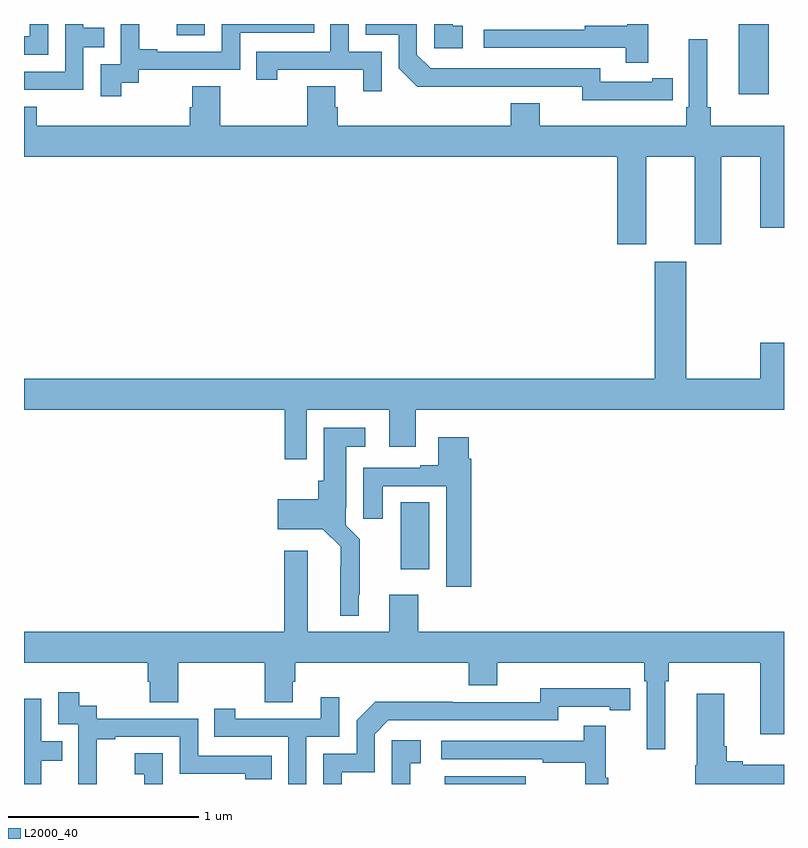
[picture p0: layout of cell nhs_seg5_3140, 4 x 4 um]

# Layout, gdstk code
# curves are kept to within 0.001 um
import gdstk
lib = gdstk.Library(unit=1e-6, precision=1e-09)
def R(c, l, rs):  # rectangles x0, y0, x1, y1
    for r in rs: c.add(gdstk.rectangle(r[:2], r[2:], *l))
def P(c, l, *ps):  # polygons
    for p in ps: c.add(gdstk.Polygon(p, *l))
L2000_40 = (2000, 40)

nhs_seg5_3140 = lib.new_cell('nhs_seg5_3140')
R(nhs_seg5_3140, L2000_40, [(295.214,846.799,295.642,846.841), (294.983,847.929,295.132,848.282), (296.762,850.428,296.921,850.799), (293.805,850.74,293.952,850.799)])
P(nhs_seg5_3140, L2000_40, [(293.127,850.799),(293.031,850.799),(293.031,850.734),(293,850.734),(293,850.638),(293.127,850.638)],
  [(296.306,850.398),(296.414,850.398),(296.414,850.514),(296.306,850.514),(296.306,850.494),(296.034,850.494),(296.034,850.566),(295.14,850.566),(295.068,850.638),(295.068,850.799),(294.798,850.799),(294.798,850.743),(294.972,850.743),(294.972,850.566),(295.07,850.469),(295.938,850.47),(295.938,850.397)],
  [(295.309,850.791),(295.256,850.791),(295.256,850.799),(295.158,850.799),(295.158,850.671),(295.309,850.671)],
  [(293.313,850.677),(293.423,850.677),(293.423,850.778),(293.313,850.778),(293.313,850.799),(293.217,850.799),(293.217,850.548),(293,850.548),(293,850.452),(293.313,850.452)],
  [(293.512,850.489),(293.604,850.489),(293.604,850.557),(294.138,850.557),(294.138,850.752),(294.527,850.752),(294.527,850.799),(294.042,850.799),(294.042,850.653),(293.701,850.653),(293.701,850.666),(293.606,850.666),(293.606,850.799),(293.508,850.799),(293.508,850.587),(293.403,850.587),(293.403,850.419),(293.512,850.419)],
  [(294.882,850.653),(294.708,850.653),(294.708,850.799),(294.612,850.799),(294.612,850.653),(294.223,850.653),(294.223,850.506),(294.334,850.506),(294.334,850.557),(294.785,850.557),(294.785,850.446),(294.882,850.446)],
  [(296.285,850.799),(296.175,850.799),(296.175,850.79),(295.951,850.79),(295.951,850.77),(295.419,850.77),(295.419,850.674),(296.167,850.674),(296.167,850.596),(296.285,850.596)],
  [(296.275,850.1),(296.531,850.1),(296.531,849.639),(296.671,849.639),(296.671,850.1),(296.876,850.1),(296.876,849.726),(297,849.726),(297,850.264),(296.615,850.264),(296.615,850.36),(296.596,850.36),(296.596,850.72),(296.499,850.72),(296.499,850.36),(296.486,850.36),(296.486,850.264),(295.714,850.264),(295.714,850.381),(295.562,850.381),(295.562,850.264),(294.65,850.264),(294.65,850.362),(294.637,850.362),(294.637,850.472),(294.49,850.472),(294.49,850.264),(294.033,850.264),(294.033,850.472),(293.885,850.472),(293.885,850.362),(293.873,850.362),(293.873,850.264),(293.066,850.264),(293.066,850.363),(293,850.363),(293,850.1),(296.123,850.1),(296.123,849.639),(296.275,849.639)],
  [(294.489,848.768),(294.923,848.768),(294.923,848.574),(295.063,848.574),(295.063,848.768),(297,848.768),(297,849.121),(296.876,849.121),(296.876,848.932),(296.485,848.932),(296.485,849.547),(296.321,849.547),(296.321,848.932),(293,848.932),(293,848.768),(294.373,848.768),(294.373,848.508),(294.489,848.508)],
  [(294.763,847.795),(294.767,847.795),(294.767,848.086),(294.693,848.16),(294.693,848.254),(294.697,848.254),(294.697,848.573),(294.796,848.573),(294.796,848.674),(294.578,848.674),(294.578,848.394),(294.548,848.394),(294.548,848.299),(294.336,848.299),(294.336,848.141),(294.573,848.141),(294.666,848.048),(294.665,847.685),(294.763,847.685)],
  [(295.355,848.51),(295.342,848.51),(295.342,848.623),(295.181,848.623),(295.181,848.476),(295.085,848.476),(295.085,848.463),(294.785,848.463),(294.785,848.196),(294.889,848.196),(294.889,848.367),(295.223,848.367),(295.223,847.836),(295.355,847.836)],
  [(296.374,847.34),(296.393,847.34),(296.393,847.436),(296.876,847.436),(296.876,847.062),(297,847.062),(297,847.6),(295.076,847.6),(295.076,847.795),(294.923,847.795),(294.923,847.6),(294.493,847.6),(294.493,848.026),(294.371,848.026),(294.371,847.6),(293,847.6),(293,847.436),(293.651,847.436),(293.651,847.338),(293.663,847.338),(293.663,847.228),(293.811,847.228),(293.811,847.436),(294.268,847.436),(294.268,847.228),(294.415,847.228),(294.415,847.338),(294.428,847.338),(294.428,847.436),(295.34,847.436),(295.34,847.319),(295.492,847.319),(295.492,847.436),(296.264,847.436),(296.264,847.34),(296.277,847.34),(296.277,846.981),(296.374,846.981)],
  [(294.673,846.861),(294.846,846.861),(294.846,847.062),(294.918,847.134),(295.812,847.134),(295.812,847.206),(296.084,847.206),(296.084,847.186),(296.192,847.186),(296.192,847.302),(295.716,847.303),(295.716,847.23),(295.256,847.23),(295.256,847.232),(294.848,847.232),(294.75,847.134),(294.75,846.957),(294.576,846.957),(294.576,846.799),(294.673,846.799)],
  [(293.384,847.035),(293.479,847.035),(293.479,847.047),(293.82,847.047),(293.82,846.852),(294.165,846.852),(294.165,846.825),(294.305,846.825),(294.305,846.948),(293.916,846.948),(293.916,847.143),(293.382,847.143),(293.382,847.212),(293.29,847.212),(293.29,847.282),(293.181,847.282),(293.181,847.113),(293.286,847.113),(293.286,846.884),(293.285,846.884),(293.285,846.799),(293.384,846.799)],
  [(297,846.901),(296.782,846.901),(296.782,846.92),(296.699,846.92),(296.699,846.997),(296.686,846.997),(296.686,847.273),(296.54,847.273),(296.54,846.897),(296.533,846.897),(296.533,846.799),(297,846.799)],
  [(294.486,847.047),(294.66,847.047),(294.66,847.255),(294.563,847.255),(294.563,847.143),(294.112,847.143),(294.112,847.195),(294.001,847.195),(294.001,847.047),(294.39,847.047),(294.39,846.799),(294.486,846.799)],
  [(293.091,846.922),(293.201,846.922),(293.201,847.023),(293.091,847.023),(293.091,847.248),(293,847.248),(293,846.799),(293.091,846.799)],
  [(296.074,846.833),(296.063,846.833),(296.063,847.105),(295.945,847.105),(295.945,847.026),(295.197,847.026),(295.197,846.93),(295.729,846.93),(295.729,846.91),(295.953,846.91),(295.953,846.799),(296.074,846.799)],
  [(295.034,846.909),(295.087,846.909),(295.087,847.03),(294.936,847.03),(294.936,846.799),(295.034,846.799)],
  [(293.73,846.961),(293.583,846.961),(293.583,846.851),(293.632,846.851),(293.632,846.799),(293.73,846.799)])

lib.write_gds('nhs_seg5_3140.gds')
